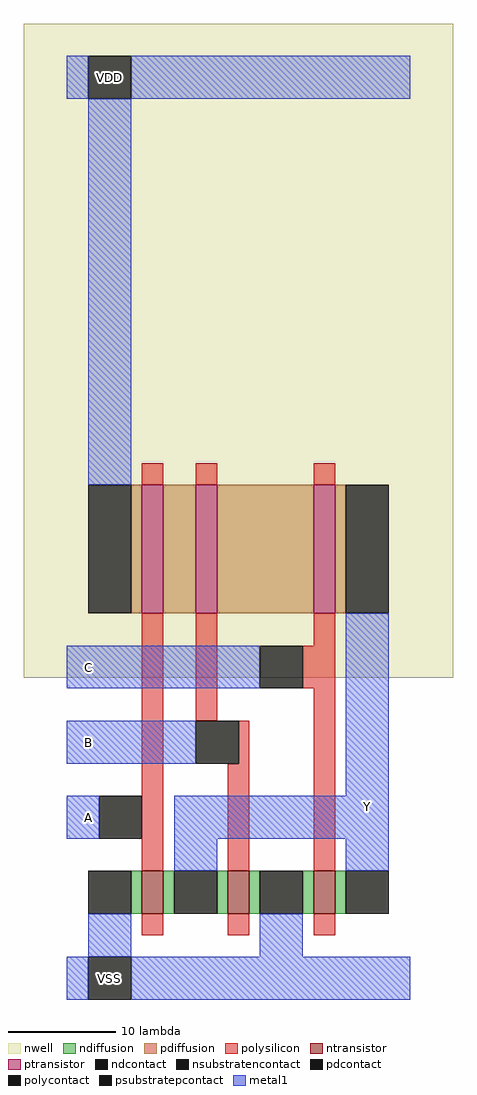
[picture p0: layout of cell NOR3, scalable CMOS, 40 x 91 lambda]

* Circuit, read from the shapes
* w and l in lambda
.subckt NOR3 A B C VDD VSS Y
M1 Y A VSS VSS nfet w=4 l=2
M2 VSS B Y VSS nfet w=4 l=2
M3 Y C VSS VSS nfet w=4 l=2
M4 n1 A VDD VDD pfet w=12 l=2
M5 n2 B n1 VDD pfet w=12 l=2
M6 Y C n2 VDD pfet w=12 l=2
.ends

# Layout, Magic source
magic
tech scmos
<< nwell >>
rect -4 30 36 91
<< ntransistor >>
rect 7 8 9 12
rect 15 8 17 12
rect 23 8 25 12
<< ptransistor >>
rect 7 36 9 48
rect 12 36 14 48
rect 23 36 25 48
<< ndiffusion >>
rect 6 8 7 12
rect 9 8 10 12
rect 14 8 15 12
rect 17 8 18 12
rect 22 8 23 12
rect 25 8 26 12
<< pdiffusion >>
rect 6 36 7 48
rect 9 36 12 48
rect 14 36 23 48
rect 25 36 26 48
<< ndcontact >>
rect 2 8 6 12
rect 10 8 14 12
rect 18 8 22 12
rect 26 8 30 12
<< pdcontact >>
rect 2 36 6 48
rect 26 36 30 48
<< psubstratepcontact >>
rect 2 0 6 4
<< nsubstratencontact >>
rect 2 84 6 88
<< polysilicon >>
rect 7 48 9 50
rect 12 48 14 50
rect 23 48 25 50
rect 7 12 9 36
rect 12 26 14 36
rect 23 33 25 36
rect 22 29 25 33
rect 16 22 17 26
rect 15 12 17 22
rect 23 12 25 29
rect 7 6 9 8
rect 15 6 17 8
rect 23 6 25 8
<< polycontact >>
rect 3 15 7 19
rect 18 29 22 33
rect 12 22 16 26
<< metal1 >>
rect 0 84 2 88
rect 6 84 32 88
rect 2 48 6 84
rect 0 29 18 33
rect 0 22 12 26
rect 26 19 30 36
rect 0 15 3 19
rect 10 15 30 19
rect 10 12 14 15
rect 26 12 30 15
rect 2 4 6 8
rect 18 4 22 8
rect 0 0 2 4
rect 6 0 32 4
<< labels >>
rlabel psubstratepcontact 4 2 4 2 1 VSS
rlabel metal1 28 18 28 18 1 Y
rlabel metal1 2 17 2 17 1 A
rlabel metal1 2 24 2 24 1 B
rlabel metal1 2 31 2 31 1 C
rlabel nsubstratencontact 4 86 4 86 1 VDD
<< end >>
